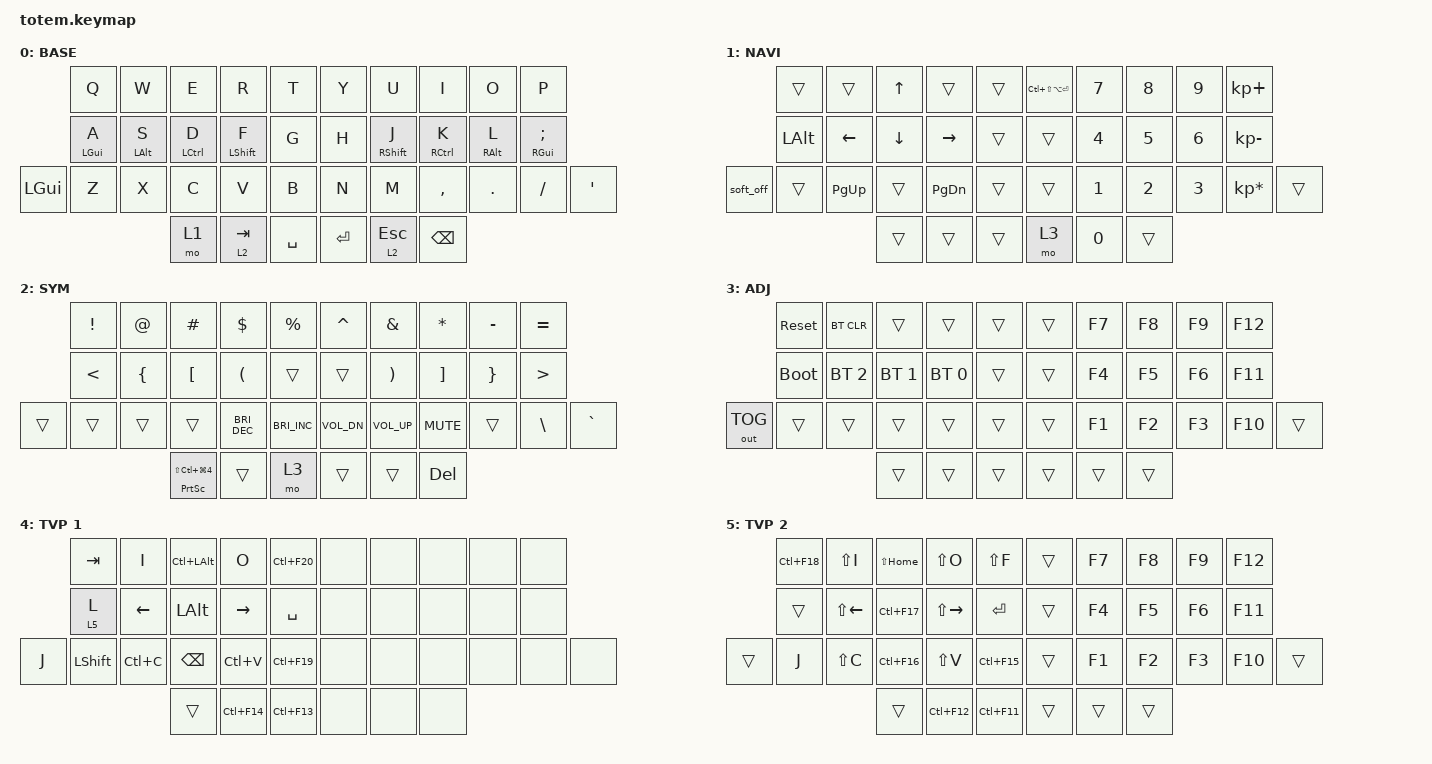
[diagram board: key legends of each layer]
//
//                                                        ▀▀▀▀▀     ▀▀▀▀▀          ▀▀█▀▀
//                                                        ▄▀▀▀▄  ▄  ▄▀▀▀▄  ▄  ▄▀▀▀▄  █  ▄▀▀▀▄
//                                                        █   █  █  █   █  █  █   █  █  █   █
//                                                         ▀▀▀   █   ▀▀▀   █   ▀▀▀   ▀   ▀▀▀
//                                                               █      ▄▄▄█▄▄▄    █   █  
//                                                               ▀      █  █  █     █▄█
//                                                             ▀▀▀▀▀    █  █  █      ▀
//                                                                      ▀  ▀  ▀
//
// ▄▄▄▄▄▄▄▄▄▄▄▄▄▄▄▄▄▄▄▄▄▄▄▄▄▄▄▄▄▄▄▄▄▄▄▄▄▄▄▄▄▄▄▄▄▄▄▄▄▄▄▄▄▄▄▄▄▄▄▄▄▄▄▄▄▄▄▄▄▄▄▄▄▄▄▄▄▄▄▄▄▄▄▄▄▄▄▄▄▄▄▄▄▄▄▄▄▄▄▄▄▄▄▄▄▄▄▄▄▄▄▄▄▄▄▄▄▄▄▄▄▄▄▄▄▄▄▄▄▄▄▄▄▄▄▄▄▄▄▄▄▄▄▄▄▄▄▄▄

#include <behaviors.dtsi>
#include <dt-bindings/zmk/bt.h>
#include <dt-bindings/zmk/keys.h>
#include <dt-bindings/zmk/outputs.h>

#define BASE 0
#define NAV  1
#define SYM  2
#define ADJ  3
#define TVP1 4
#define TVP2 5

&mt {
    quick-tap-ms = <100>;
    global-quick-tap;
    flavor = "balanced";
    tapping-term-ms = <250>;
};

/ {
    combos {
        compatible = "zmk,combos";

        combo_tvp {
            timeout-ms = <100>;
            key-positions = <12 13 34>;
            bindings = <&kp LC(LS(LA(ENTER)))>;
        };
    };

    macros {
        gif: gif {
            label = "giphy";
            compatible = "zmk,behavior-macro";
            #binding-cells = <0>;
            bindings =
                <&macro_press>,
                <&kp LSHFT>,
                <&macro_tap>,
                <&kp N2>,
                <&macro_release>,
                <&kp LSHFT>,
                <&macro_tap>,
                <&kp G &kp I &kp F>;
        };
    };

    keymap {
        compatible = "zmk,keymap";

        // ▄▄▄▄▄▄▄▄▄▄▄▄▄▄▄▄▄▄▄▄▄▄▄▄▄▄▄▄▄▄▄▄▄▄▄▄▄▄▄▄▄▄▄▄▄▄▄▄▄▄▄▄▄▄▄▄▄▄▄▄▄▄▄▄▄▄▄▄▄▄▄▄▄▄▄▄▄▄▄▄▄▄▄▄▄▄▄▄▄▄▄▄▄▄▄▄▄▄▄▄▄▄▄▄▄▄▄▄▄▄▄▄▄▄▄▄▄▄▄▄▄▄▄▄▄▄▄▄▄▄▄▄▄▄▄▄▄▄▄▄▄▄▄▄▄▄▄▄▄

        base_layer {
            // ┏━━━━━━━━━━━━━━━━━━━━━━━━━━━━━━━━━━━━━━━┓

            label = "BASE";

            // ┗━━━━━━━━━━━━━━━━━━━━━━━━━━━━━━━━━━━━━━━┛
            //             ┏━━━━━━━━━━━┳━━━━━━━━━━━┳━━━━━━━━━━━┳━━━━━━━━━━━┳━━━━━━━━━━━┓   ┏━━━━━━━━━━━┳━━━━━━━━━━━┳━━━━━━━━━━━┳━━━━━━━━━━━┳━━━━━━━━━━━┓
            //             ┃     Q     ┃     W     ┃     F     ┃     P     ┃     G     ┃   ┃     J     ┃     L     ┃     U     ┃     Y     ┃     ;     ┃
            //             ┣━━━━━━━━━━━╋━━━━━━━━━━━╋━━━━━━━━━━━╋━━━━━━━━━━━╋━━━━━━━━━━━┫   ┣━━━━━━━━━━━╋━━━━━━━━━━━╋━━━━━━━━━━━╋━━━━━━━━━━━╋━━━━━━━━━━━┫
            //             ┃     A     ┃     R     ┃     S     ┃     T     ┃     D     ┃   ┃     H     ┃     N     ┃     E     ┃     I     ┃     O     ┃
            // ┏━━━━━━━━━━━╋━━━━━━━━━━━╋━━━━━━━━━━━╋━━━━━━━━━━━╋━━━━━━━━━━━╋━━━━━━━━━━━┫   ┣━━━━━━━━━━━╋━━━━━━━━━━━╋━━━━━━━━━━━╋━━━━━━━━━━━╋━━━━━━━━━━━╋━━━━━━━━━━━┓
            // ┃     Q     ┃     Z     ┃     X     ┃     C     ┃     V     ┃     B     ┃   ┃     K     ┃     M     ┃     ,     ┃     .     ┃     /     ┃     \     ┃
            // ┗━━━━━━━━━━━┻━━━━━━━━━━━┻━━━━━━━━━━━╋━━━━━━━━━━━╋━━━━━━━━━━━╋━━━━━━━━━━━┫   ┣━━━━━━━━━━━╋━━━━━━━━━━━╋━━━━━━━━━━━╋━━━━━━━━━━━┻━━━━━━━━━━━┻━━━━━━━━━━━┛
            //                                     ┃    DEL    ┃    TAB    ┃    SPC    ┃   ┃   ENTER   ┃           ┃   BSPC    ┃
            //                                     ┗━━━━━━━━━━━┻━━━━━━━━━━━┻━━━━━━━━━━━┛   ┗━━━━━━━━━━━┻━━━━━━━━━━━┻━━━━━━━━━━━┛

            bindings = <
              &kp Q       &kp W       &kp E        &kp R        &kp T        &kp Y    &kp U        &kp I        &kp O       &kp P
              &mt LGUI A  &mt LALT S  &mt LCTRL D  &mt LSHFT F  &kp G        &kp H    &mt RSHFT J  &mt RCTRL K  &mt RALT L  &mt RGUI SEMI
&kp LEFT_GUI  &kp Z       &kp X       &kp C        &kp V        &kp B        &kp N    &kp M        &kp COMMA    &kp DOT     &kp FSLH       &kp APOS
                                      &mo 1        &lt 2 TAB    &kp SPACE    &kp RET  &lt 2 ESC    &kp BSPC
            >;
        };

        nav_layer {
            // ┏━━━━━━━━━━━━━━━━━━━━━━━━━━━━━━━━━━━━━━━┓

            label = "NAVI";

            // ┗━━━━━━━━━━━━━━━━━━━━━━━━━━━━━━━━━━━━━━━┛
            //             ┏━━━━━━━━━━━┳━━━━━━━━━━━┳━━━━━━━━━━━┳━━━━━━━━━━━┳━━━━━━━━━━━┓   ┏━━━━━━━━━━━┳━━━━━━━━━━━┳━━━━━━━━━━━┳━━━━━━━━━━━┳━━━━━━━━━━━┓
            //             ┃           ┃           ┃     UP    ┃           ┃     {     ┃   ┃     }     ┃     7     ┃     8     ┃     9     ┃     +     ┃
            //             ┣━━━━━━━━━━━╋━━━━━━━━━━━╋━━━━━━━━━━━╋━━━━━━━━━━━╋━━━━━━━━━━━┫   ┣━━━━━━━━━━━╋━━━━━━━━━━━╋━━━━━━━━━━━╋━━━━━━━━━━━╋━━━━━━━━━━━┫
            //             ┃   SHIFT   ┃   LEFT    ┃    DOWN   ┃   RIGHT   ┃     [     ┃   ┃     ]     ┃     4     ┃     5     ┃     6     ┃     -     ┃
            // ┏━━━━━━━━━━━╋━━━━━━━━━━━╋━━━━━━━━━━━╋━━━━━━━━━━━╋━━━━━━━━━━━╋━━━━━━━━━━━┫   ┣━━━━━━━━━━━╋━━━━━━━━━━━╋━━━━━━━━━━━╋━━━━━━━━━━━╋━━━━━━━━━━━╋━━━━━━━━━━━┓
            // ┃           ┃           ┃   P UP    ┃  C LOCK   ┃  P DOWN   ┃     (     ┃   ┃     )     ┃     1     ┃     2     ┃     3     ┃     *     ┃           ┃
            // ┗━━━━━━━━━━━┻━━━━━━━━━━━┻━━━━━━━━━━━╋━━━━━━━━━━━╋━━━━━━━━━━━╋━━━━━━━━━━━┫   ┣━━━━━━━━━━━╋━━━━━━━━━━━╋━━━━━━━━━━━╋━━━━━━━━━━━┻━━━━━━━━━━━┻━━━━━━━━━━━┛
            //                                     ┃           ┃    TAB    ┃    SPC    ┃   ┃    DEL    ┃     0     ┃           ┃
            //                                     ┗━━━━━━━━━━━┻━━━━━━━━━━━┻━━━━━━━━━━━┛   ┗━━━━━━━━━━━┻━━━━━━━━━━━┻━━━━━━━━━━━┛

            bindings = <
           &trans        &trans     &kp UP    &trans     &trans    &kp LC(LS(LA(ENTER)))  &kp N7        &kp N8        &kp N9        &kp KP_PLUS
           &kp LEFT_ALT  &kp LEFT   &kp DOWN  &kp RIGHT  &trans    &trans                 &kp NUMBER_4  &kp N5        &kp NUMBER_6  &kp KP_MINUS
&soft_off  &trans        &kp PG_UP  &trans    &kp PG_DN  &trans    &trans                 &kp NUMBER_1  &kp NUMBER_2  &kp NUMBER_3  &kp KP_MULTIPLY  &trans
                                    &trans    &trans     &trans    &mo 3                  &kp N0        &trans
            >;
        };

        sim_layer {
            label = "SYM";
            bindings = <
        &kp EXCL       &kp AT_SIGN     &kp HASH                              &kp DOLLAR            &kp PERCENT             &kp CARET     &kp AMPERSAND          &kp STAR           &kp MINUS        &kp EQUAL
        &kp LESS_THAN  &kp LEFT_BRACE  &kp LEFT_BRACKET                      &kp LEFT_PARENTHESIS  &trans                  &trans        &kp RIGHT_PARENTHESIS  &kp RIGHT_BRACKET  &kp RIGHT_BRACE  &kp GREATER_THAN
&trans  &trans         &trans          &trans                                &kp C_BRIGHTNESS_DEC  &kp C_BRIGHTNESS_INC    &kp C_VOL_DN  &kp C_VOL_UP           &kp C_MUTE         &trans           &kp BACKSLASH     &kp GRAVE
                                       &mt PRINTSCREEN LS(LC(LG(NUMBER_4)))  &trans                &mo 3                   &trans        &trans                 &kp DELETE
            >;
        };

        adjust_layer {
            // ┏━━━━━━━━━━━━━━━━━━━━━━━━━━━━━━━━━━━━━━━┓

            label = "ADJ";

            // ┗━━━━━━━━━━━━━━━━━━━━━━━━━━━━━━━━━━━━━━━┛
            //             ┏━━━━━━━━━━━┳━━━━━━━━━━━┳━━━━━━━━━━━┳━━━━━━━━━━━┳━━━━━━━━━━━┓   ┏━━━━━━━━━━━┳━━━━━━━━━━━┳━━━━━━━━━━━┳━━━━━━━━━━━┳━━━━━━━━━━━┓
            //             ┃   RESET   ┃ BT CLEAR  ┃  OUT TOG  ┃           ┃           ┃   ┃           ┃    F7     ┃    F8     ┃    F9     ┃    F12    ┃
            //             ┣━━━━━━━━━━━╋━━━━━━━━━━━╋━━━━━━━━━━━╋━━━━━━━━━━━╋━━━━━━━━━━━┫   ┣━━━━━━━━━━━╋━━━━━━━━━━━╋━━━━━━━━━━━╋━━━━━━━━━━━╋━━━━━━━━━━━┫
            //             ┃ BOOTLOAD  ┃ BT NEXT   ┃           ┃           ┃           ┃   ┃           ┃    F4     ┃    F5     ┃    F6     ┃    F11    ┃
            // ┏━━━━━━━━━━━╋━━━━━━━━━━━╋━━━━━━━━━━━╋━━━━━━━━━━━╋━━━━━━━━━━━╋━━━━━━━━━━━┫   ┣━━━━━━━━━━━╋━━━━━━━━━━━╋━━━━━━━━━━━╋━━━━━━━━━━━╋━━━━━━━━━━━╋━━━━━━━━━━━┓
            // ┃           ┃           ┃ BT PREV   ┃           ┃           ┃           ┃   ┃           ┃    F1     ┃    F2     ┃    F3     ┃    F10    ┃           ┃
            // ┗━━━━━━━━━━━┻━━━━━━━━━━━┻━━━━━━━━━━━╋━━━━━━━━━━━╋━━━━━━━━━━━╋━━━━━━━━━━━┫   ┣━━━━━━━━━━━╋━━━━━━━━━━━╋━━━━━━━━━━━╋━━━━━━━━━━━┻━━━━━━━━━━━┻━━━━━━━━━━━┛
            //                                     ┃           ┃           ┃           ┃   ┃           ┃           ┃           ┃
            //                                     ┗━━━━━━━━━━━┻━━━━━━━━━━━┻━━━━━━━━━━━┛   ┗━━━━━━━━━━━┻━━━━━━━━━━━┻━━━━━━━━━━━┛

            bindings = <
              &sys_reset   &bt BT_CLR    &trans        &trans        &trans    &trans  &kp F7  &kp F8  &kp F9  &kp F12
              &bootloader  &bt BT_SEL 2  &bt BT_SEL 1  &bt BT_SEL 0  &trans    &trans  &kp F4  &kp F5  &kp F6  &kp F11
&out OUT_TOG  &trans       &trans        &trans        &trans        &trans    &trans  &kp F1  &kp F2  &kp F3  &kp F10  &trans
                                         &trans        &trans        &trans    &trans  &trans  &trans
            >;
        };

        tvp1_layer {
            // ┏━━━━━━━━━━━━━━━━━━━━━━━━━━━━━━━━━━━━━━━┓

            label = "TVP 1";

            // ┗━━━━━━━━━━━━━━━━━━━━━━━━━━━━━━━━━━━━━━━┛
            //             ┏━━━━━━━━━━━┳━━━━━━━━━━━┳━━━━━━━━━━━┳━━━━━━━━━━━┳━━━━━━━━━━━┓   ┏━━━━━━━━━━━┳━━━━━━━━━━━┳━━━━━━━━━━━┳━━━━━━━━━━━┳━━━━━━━━━━━┓
            //             ┃ NEXT FILE ┃ MARK IN   ┃ ROTATE    ┃ MARK OUT  ┃ SHOW SNAP ┃   ┃           ┃           ┃           ┃           ┃           ┃
            //             ┣━━━━━━━━━━━╋━━━━━━━━━━━╋━━━━━━━━━━━╋━━━━━━━━━━━╋━━━━━━━━━━━┫   ┣━━━━━━━━━━━╋━━━━━━━━━━━╋━━━━━━━━━━━╋━━━━━━━━━━━╋━━━━━━━━━━━┫
            //             ┃ TVP II    ┃ LEFT      ┃ PAN       ┃ RIGHT     ┃ PLAY/FLIP ┃   ┃           ┃           ┃           ┃           ┃           ┃
            // ┏━━━━━━━━━━━╋━━━━━━━━━━━╋━━━━━━━━━━━╋━━━━━━━━━━━╋━━━━━━━━━━━╋━━━━━━━━━━━┫   ┣━━━━━━━━━━━╋━━━━━━━━━━━╋━━━━━━━━━━━╋━━━━━━━━━━━╋━━━━━━━━━━━╋━━━━━━━━━━━┓
            // ┃ FULLSCR   ┃ SHIFT     ┃ COPY      ┃ DELETE    ┃ PASTE     ┃ IMG MARK  ┃   ┃           ┃           ┃           ┃           ┃           ┃           ┃
            // ┗━━━━━━━━━━━┻━━━━━━━━━━━┻━━━━━━━━━━━╋━━━━━━━━━━━╋━━━━━━━━━━━╋━━━━━━━━━━━┫   ┣━━━━━━━━━━━╋━━━━━━━━━━━╋━━━━━━━━━━━╋━━━━━━━━━━━┻━━━━━━━━━━━┻━━━━━━━━━━━┛
            //                                     ┃           ┃ UNDO/SAVE ┃  SEL/MOV  ┃   ┃           ┃           ┃           ┃
            //                                     ┗━━━━━━━━━━━┻━━━━━━━━━━━┻━━━━━━━━━━━┛   ┗━━━━━━━━━━━┻━━━━━━━━━━━┻━━━━━━━━━━━┛

            bindings = <
       &kp TAB    &kp I      &kp LC(LALT)  &kp O        &kp LC(F20)    &none  &none  &none  &none  &none
       &lt 5 L    &kp LEFT   &kp LALT      &kp RIGHT    &kp SPACE      &none  &none  &none  &none  &none
&kp J  &kp LSHFT  &kp LC(C)  &kp BSPC      &kp LC(V)    &kp LC(F19)    &none  &none  &none  &none  &none  &none
                             &trans        &kp LC(F14)  &kp LC(F13)    &none  &none  &none
            >;
        };

        tvp2_layer {
            // ┏━━━━━━━━━━━━━━━━━━━━━━━━━━━━━━━━━━━━━━━┓

            label = "TVP 2";

            // ┗━━━━━━━━━━━━━━━━━━━━━━━━━━━━━━━━━━━━━━━┛
            //             ┏━━━━━━━━━━━┳━━━━━━━━━━━┳━━━━━━━━━━━┳━━━━━━━━━━━┳━━━━━━━━━━━┓   ┏━━━━━━━━━━━┳━━━━━━━━━━━┳━━━━━━━━━━━┳━━━━━━━━━━━┳━━━━━━━━━━━┓
            //             ┃ SOLO      ┃ TOGGLE IN ┃ RESET ROT ┃ TOGGLE OUT┃ TAKE SNAP ┃   ┃           ┃           ┃           ┃           ┃           ┃
            //             ┣━━━━━━━━━━━╋━━━━━━━━━━━╋━━━━━━━━━━━╋━━━━━━━━━━━╋━━━━━━━━━━━┫   ┣━━━━━━━━━━━╋━━━━━━━━━━━╋━━━━━━━━━━━╋━━━━━━━━━━━╋━━━━━━━━━━━┫
            //             ┃ ---       ┃ LAST KEY  ┃ NEW KEY   ┃ NEXT KEY  ┃ ENTER     ┃   ┃           ┃           ┃           ┃           ┃           ┃
            // ┏━━━━━━━━━━━╋━━━━━━━━━━━╋━━━━━━━━━━━╋━━━━━━━━━━━╋━━━━━━━━━━━╋━━━━━━━━━━━┫   ┣━━━━━━━━━━━╋━━━━━━━━━━━╋━━━━━━━━━━━╋━━━━━━━━━━━╋━━━━━━━━━━━╋━━━━━━━━━━━┓
            // ┃           ┃ FULLSCR   ┃ CPY2BRUSH ┃ DEL HEAD  ┃ PSTinPLACE┃ BOOK MARK ┃   ┃           ┃           ┃           ┃           ┃           ┃           ┃
            // ┗━━━━━━━━━━━┻━━━━━━━━━━━┻━━━━━━━━━━━╋━━━━━━━━━━━╋━━━━━━━━━━━╋━━━━━━━━━━━┫   ┣━━━━━━━━━━━╋━━━━━━━━━━━╋━━━━━━━━━━━╋━━━━━━━━━━━┻━━━━━━━━━━━┻━━━━━━━━━━━┛
            //                                     ┃           ┃ REDO/SAV1 ┃TRANS/WARP ┃   ┃           ┃           ┃           ┃
            //                                     ┗━━━━━━━━━━━┻━━━━━━━━━━━┻━━━━━━━━━━━┛   ┗━━━━━━━━━━━┻━━━━━━━━━━━┻━━━━━━━━━━━┛

            bindings = <
        &kp LC(F18)  &kp LS(I)     &kp LS(HOME)  &kp LS(O)      &kp LS(F)      &trans  &kp F7  &kp F8  &kp F9  &kp F12
        &trans       &kp LS(LEFT)  &kp LC(F17)   &kp LS(RIGHT)  &kp RET        &trans  &kp F4  &kp F5  &kp F6  &kp F11
&trans  &kp J        &kp LS(C)     &kp LC(F16)   &kp LS(V)      &kp LC(F15)    &trans  &kp F1  &kp F2  &kp F3  &kp F10  &trans
                                   &trans        &kp LC(F12)    &kp LC(F11)    &trans  &trans  &trans
            >;
        };
    };
};
